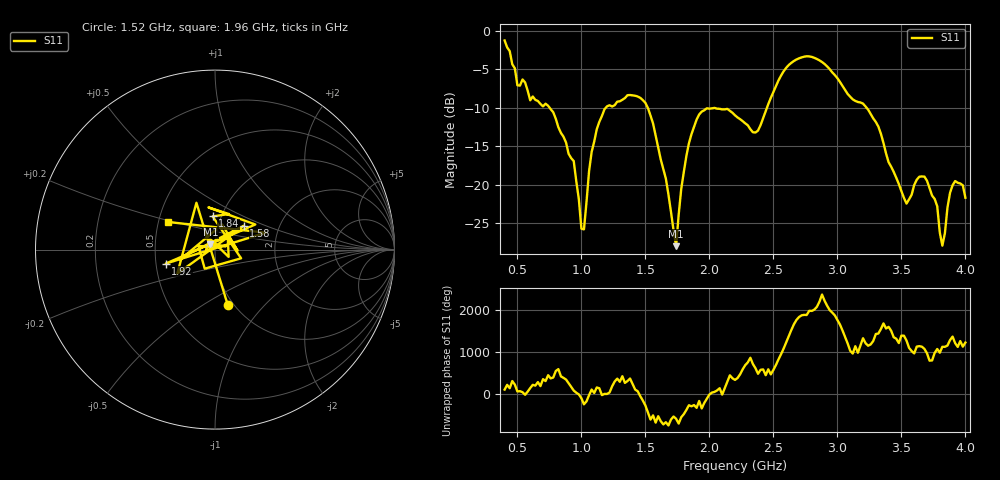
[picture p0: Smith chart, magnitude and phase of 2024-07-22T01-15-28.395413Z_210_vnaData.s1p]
!Created with skrf (http://scikit-rf.org).
# Hz S RI R 50.0
!freq ReS11 ImS11
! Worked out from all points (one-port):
!   181 points, 400 MHz to 4 GHz, reference 50 ohm
!   lowest |S11| = -28.0 dB at 1.74 GHz (marker M1), VSWR 1.08, Z = 47.4 + j2.89 ohm
!   |S11| at or under -10 dB: 751.1 MHz to 1.191 GHz (440 MHz wide, 45.3 % of centre); 1.518 GHz to 2.45 GHz (931.5 MHz wide, 47 % of centre); 3.227 GHz to end of sweep
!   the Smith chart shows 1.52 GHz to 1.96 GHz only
!   S11 on the Smith chart (normalised r, x): 1.52 GHz: 0.94, -0.64; 1.58 GHz: 1.32, +0.37; 1.84 GHz: 0.91, +0.35; 1.92 GHz: 0.56, -0.10; 1.96 GHz: 0.56, +0.19
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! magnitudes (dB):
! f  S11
! 400 MHz  -1.3
! 500 MHz  -7.1
! 860 MHz  -13.8
! 940 MHz  -16.9
! 1 GHz  -25.7
! 1.02 GHz  -25.8
! 1.06 GHz  -18.2
! 1.12 GHz  -12.8
! 1.3 GHz  -9.2
! 1.52 GHz  -10.1
! 1.58 GHz  -13.6
! 1.74 GHz  -28.0
! 1.76 GHz  -23.9
! 1.84 GHz  -14.6
! 1.92 GHz  -10.9
! 1.96 GHz  -10.3
! 2.2 GHz  -11.0
! 2.38 GHz  -13.0
! 2.66 GHz  -3.9
! 2.86 GHz  -3.9
! 3.1 GHz  -8.6
! 3.3 GHz  -11.9
! 3.56 GHz  -21.9
! 3.68 GHz  -19.0
! 3.78 GHz  -22.8
! 3.82 GHz  -27.9
! 3.9 GHz  -20.1
! 4 GHz  -21.7
